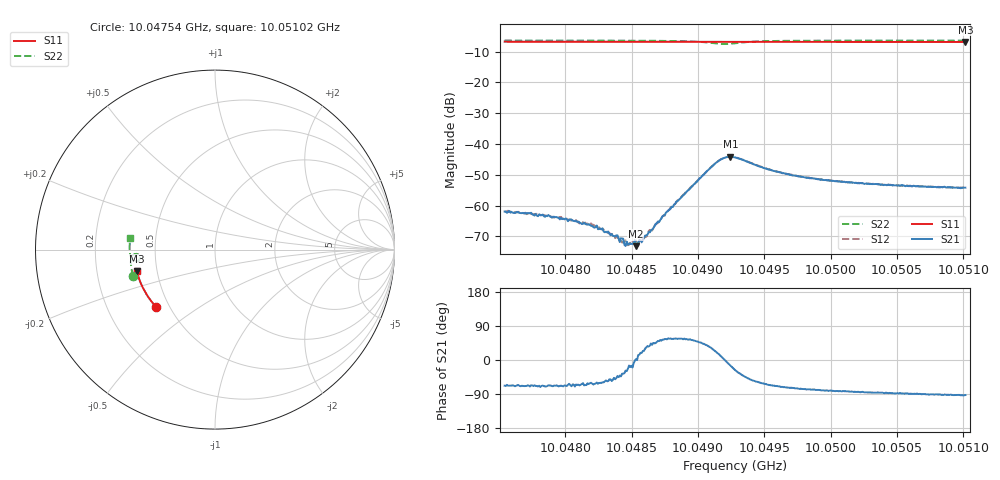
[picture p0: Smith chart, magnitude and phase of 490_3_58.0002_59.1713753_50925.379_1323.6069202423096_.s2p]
#  HZ  S  RI  R  50.00
! Rohde & Schwarz Vector Network Analyzer
! Rohde-Schwarz,ZNB20-2Port,1311601062101988,3.16
! Created: UTC 3/21/2024, 1:12:15 AM
! freq[Hz]  re:S11  im:S11  re:S21  im:S21  re:S12  im:S12  re:S22  im:S22
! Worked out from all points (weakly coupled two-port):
!   401 points, 10.04754 GHz to 10.05102 GHz, reference 50 ohm
!   highest |S21| = -44.11 dB at 10.04924 GHz (marker M1); lowest = -73.2 dB at 10.04853 GHz (marker M2)
!   lowest |S11| = -6.9 dB at 10.05102 GHz (marker M3), VSWR 2.65, Z = 19.2 - j5.76 ohm
!   |S11| at or under -10 dB: nowhere
!   |S22| runs from -7.5 to -6.4 dB; largest |S21 - S12| = 0.00042
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1.0047543e10  -0.3295 -0.3185  0.000302 -0.000742  0.000347 -0.000712  -0.4556 -0.1473
1.0047647e10  -0.3339 -0.3134  0.000311 -0.000704  0.000347 -0.000713  -0.4576 -0.1406
1.0047873e10  -0.3437 -0.302  0.000277 -0.000646  0.000302 -0.000597  -0.4613 -0.1253
1.0047986e10  -0.3483 -0.2961  0.000214 -0.000572  0.000262 -0.000556  -0.4631 -0.1175
1.0048125e10  -0.3541 -0.289  0.000224 -0.000451  0.000288 -0.000471  -0.4651 -0.1078
1.0048212e10  -0.3575 -0.2845  0.000194 -0.000408  0.000264 -0.000411  -0.4661 -0.1014
1.0048377e10  -0.3639 -0.2756  0.0002 -0.000245  0.000205 -0.000215  -0.4678 -0.0893
1.0048463e10  -0.3672 -0.2709  0.000228 -0.000129  0.000244 -9.4e-05  -0.4686 -0.0825
1.0048533e10  -0.3698 -0.2671  0.00022 7.6e-06  0.000269 2.57e-05  -0.4687 -0.077
1.0048568e10  -0.371 -0.2653  0.000257 8.83e-05  0.00027 8.1e-05  -0.4688 -0.074
1.0048602e10  -0.3724 -0.2634  0.000281 0.000164  0.000283 0.000124  -0.4689 -0.0711
1.0048707e10  -0.3761 -0.2577  0.000347 0.000411  0.000345 0.000456  -0.4685 -0.0617
1.0048793e10  -0.3791 -0.2527  0.000486 0.00074  0.000475 0.000797  -0.4673 -0.0532
1.0049106e10  -0.3895 -0.2349  0.00376 0.00219  0.00361 0.00238  -0.4358 -0.0239
1.0049176e10  -0.3912 -0.231  0.00557 0.000936  0.00552 0.0013  -0.4202 -0.0339
1.0049245e10  -0.3935 -0.2273  0.00602 -0.0016  0.00611 -0.00121  -0.4201 -0.0544
1.004928e10  -0.3945 -0.2254  0.00544 -0.00269  0.00564 -0.00233  -0.4268 -0.0616
1.0049575e10  -0.4037 -0.2082  0.00138 -0.00335  0.00157 -0.00331  -0.4678 -0.0437
1.0049862e10  -0.4116 -0.1912  0.000578 -0.00271  0.000732 -0.00272  -0.4745 -0.0173
1.0050131e10  -0.4185 -0.1749  0.000299 -0.00236  0.000425 -0.00235  -0.4759 0.00389
1.0050443e10  -0.4255 -0.1555  0.000117 -0.00215  0.000236 -0.00216  -0.4754 0.0265
1.0051016e10  -0.4361 -0.1196  -8.64e-05 -0.00195  2.9e-05 -0.00195  -0.4714 0.066
